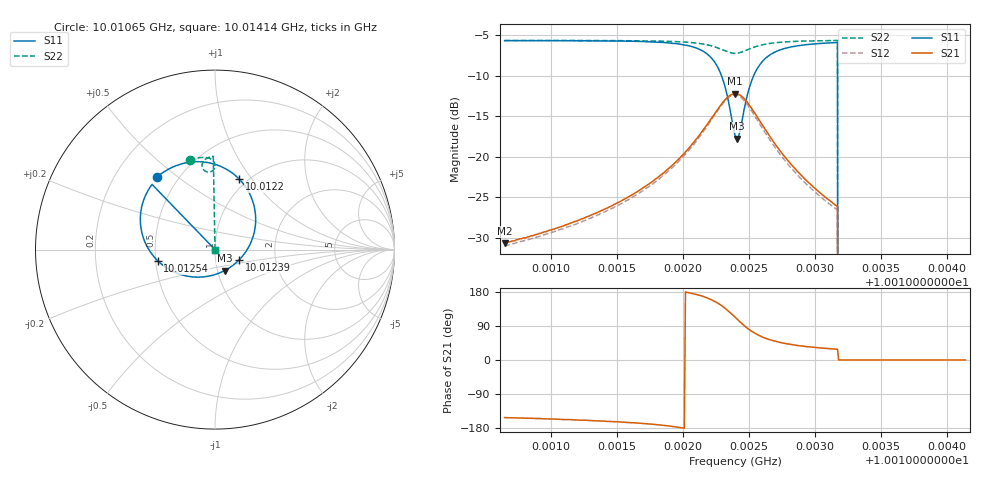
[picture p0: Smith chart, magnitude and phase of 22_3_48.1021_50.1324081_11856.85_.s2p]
#  HZ  S  RI  R  50.00
! Rohde & Schwarz Vector Network Analyzer
! Rohde-Schwarz,ZNB20-2Port,1311601062101988,3.16
! Created: UTC 12/23/2023, 3:36:46 AM
! freq[Hz]  re:S11  im:S11  re:S21  im:S21  re:S12  im:S12  re:S22  im:S22
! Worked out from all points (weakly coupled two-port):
!   401 points, 10.01065 GHz to 10.01414 GHz, reference 50 ohm
!   highest |S21| = -12.24 dB at 10.0124 GHz (marker M1); lowest = -30.7 dB at 10.01065 GHz (marker M2)
!   lowest |S11| = -17.8 dB at 10.01241 GHz (marker M3), VSWR 1.30, Z = 54.2 - j12.9 ohm
!   |S11| at or under -10 dB: 10.01229 GHz to 10.01254 GHz (245.1 kHz wide, 0.00245 % of centre); 10.01317 GHz to end of sweep
!   |S22| runs from - to -5.7 dB; largest |S21 - S12| = 0.011
!   S11 on the Smith chart (normalised r, x): 10.01065 GHz: 0.38, +0.42; 10.0122 GHz: 0.91, +0.87; 10.01239 GHz: 1.30, -0.15; 10.01254 GHz: 0.51, -0.07; 10.01414 GHz: 1.00, +0.00
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1.0010652e10  -0.3238 0.4049  -0.0258 -0.0137  -0.024 -0.0145  -0.1401 0.5006
1.0011236e10  -0.2661 0.4445  -0.0386 -0.015  -0.0362 -0.0164  -0.0998 0.5101
1.0011542e10  -0.2181 0.4671  -0.0516 -0.0149  -0.0488 -0.0169  -0.0762 0.513
1.0011821e10  -0.1435 0.4866  -0.0746 -0.0114  -0.0711 -0.0151  -0.0511 0.5129
1.0012065e10  -0.00904 0.478  -0.1172 0.00792  -0.1139 0.000821  -0.0226 0.5043
1.0012205e10  0.1338 0.394  -0.1571 0.054  -0.1564 0.0446  -0.00394 0.4851
1.0012301e10  0.2243 0.2066  -0.1691 0.1315  -0.1719 0.1218  -0.00192 0.4567
1.0012344e10  0.2128 0.0738  -0.1499 0.1791  -0.155 0.1702  -0.0112 0.4416
1.0012388e10  0.1337 -0.0583  -0.1073 0.2191  -0.1113 0.2124  -0.0288 0.4326
1.0012396e10  0.1084 -0.0812  -0.0961 0.2247  -0.1005 0.2179  -0.0328 0.4319
1.0012414e10  0.0548 -0.1168  -0.0727 0.2323  -0.0773 0.2255  -0.0412 0.4323
1.0012431e10  -0.00351 -0.1404  -0.0489 0.2353  -0.0531 0.2283  -0.0489 0.4344
1.0012466e10  -0.1243 -0.1523  -0.00223 0.2279  -0.00733 0.2208  -0.0616 0.4427
1.0012501e10  -0.2278 -0.1246  0.0332 0.2074  0.0266 0.201  -0.0691 0.4542
1.0012545e10  -0.3191 -0.0624  0.0601 0.1763  0.0537 0.1705  -0.0722 0.4684
1.0012623e10  -0.3969 0.0582  0.0785 0.1251  0.0709 0.1218  -0.0673 0.4881
1.0012737e10  -0.4158 0.1834  0.0751 0.0789  0.0686 0.0777  -0.0538 0.5037
1.0012981e10  -0.381 0.3144  0.0549 0.0368  0.0505 0.037  -0.027 0.5165
1.0013155e10  -0.3532 0.3599  0.0441 0.0243  0.0409 0.0251  -0.0109 0.5199
1.0013199e10  0 0  0 0  0 0  0 0
1.0013565e10  0 0  0 0  0 0  0 0
1.0014141e10  0 0  0 0  0 0  0 0
